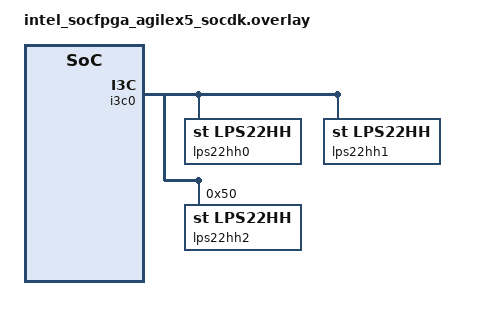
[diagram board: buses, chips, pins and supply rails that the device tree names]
/*
 * Copyright (C) 2023 Intel Corporation
 *
 * SPDX-License-Identifier: Apache-2.0
 */

&i3c0 {
	status = "okay";

	lps22hh0: lps22hh@FB1122330001 { /* i3c device */
		compatible = "st,lps22hh";
		reg = <0x00 0xFB11 0x22330001>;
		status = "okay";
	};

	lps22hh1: lps22hh@FB1122330002 { /* i3c device */
		compatible = "st,lps22hh";
		reg = <0x00 0xFB11 0x22330002>;
		status = "okay";
	};

	lps22hh2: lps22hh@500000000000000050 { /* i2c device */
	compatible = "st,lps22hh";
	reg = <0x50 0x0 0x50>;
	status = "okay";
	};
};
